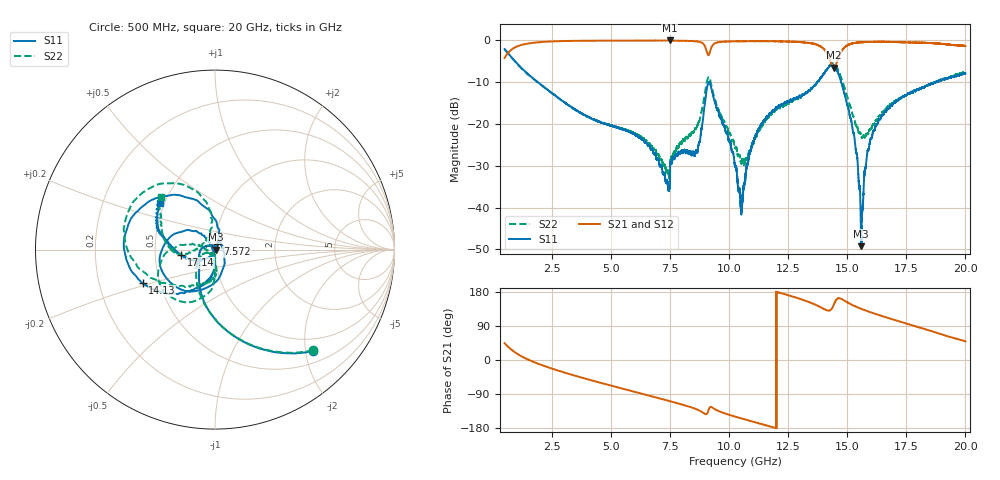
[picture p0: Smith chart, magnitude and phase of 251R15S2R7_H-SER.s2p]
!{251R15S2R7}
!Johanson Technology Inc.
!www.johansontechnology.com
!Test Board Conditions:
!Substrate Type  RO4350B
!Substrate Thickness  20 mil
!Substrate Dk  3.66
!TL Type: GCPW
!TL Trace Width  34 mil
!TL Gap  10 mil
!Electrode orientation  Horizontal
!DUT TOPOLOGY	SERIES
!Mounting Pad LxW  26x52 mil
! Created Thu Mar 12 16:39:19 2020
# mhz S ma R 50
! 2 Port Network Data from SP1.SP block
! freq  magS11  angS11  magS21  angS21  magS12  angS12  magS22  angS22
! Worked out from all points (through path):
!   19501 points, 500 MHz to 20 GHz, reference 50 ohm
!   highest |S21| = -0.02 dB at 7.487 GHz (marker M1); lowest = -6.5 dB at 14.43 GHz (marker M2)
!   group delay of S21, straight-line fit = 45.2 ps
!   lowest |S11| = -49.2 dB at 15.59 GHz (marker M3), VSWR 1.01, Z = 50.3 - j0.124 ohm
!   |S11| at or under -10 dB: 1.904 GHz to 9.138 GHz (7.234 GHz wide, 131 % of centre); 9.172 GHz to 13.73 GHz (4.558 GHz wide, 39.8 % of centre); 14.74 GHz to 18.76 GHz (4.019 GHz wide, 24 % of centre)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
!   |S22| runs from -33.2 to -2.1 dB; largest |S21 - S12| = 0.021
!   S11 on the Smith chart (normalised r, x): 500 MHz: 0.73, -2.15; 7.572 GHz: 1.02, +0.07; 14.13 GHz: 0.40, -0.19; 17.14 GHz: 0.68, -0.04; 20 GHz: 0.47, +0.29
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500  0.7863 -45.9  0.6146 44.4  0.6163 44.4  0.7837 -45.7
1611  0.3694 -92.2  0.9274 -2.0  0.9278 -2.0  0.3677 -92.4
3750  0.134 -130.6  0.987 -46.3  0.9886 -46.3  0.1329 -139.3
7000  0.03829 141.8  0.9957 -100.4  0.9962 -100.4  0.04338 -157.1
7487  0.01742 81.8  0.9973 -108.5  0.9962 -108.5  0.0229 -125.7
7572  0.03516 67.8  0.989 -109.9  0.9909 -109.9  0.04061 -80.3
8612  0.04786 2.9  0.9759 -129.8  0.9758 -129.8  0.08864 -95.9
9155  0.3192 -160.5  0.6787 -128.0  0.6806 -128.1  0.3649 -146.4
9367  0.195 146.7  0.9148 -128.6  0.9137 -128.8  0.2099 174.4
10250  0.03186 129.7  0.9755 -149.3  0.9761 -149.3  0.0521 174.7
10532  0.01015 -150.6  0.9784 -154.3  0.9752 -154.4  0.03599 -156.4
10926  0.04872 -91.1  0.9772 -161.4  0.9778 -161.4  0.05044 -103.1
11398  0.1021 -91.4  0.9791 -169.6  0.9781 -169.5  0.09419 -86.7
13500  0.2703 -120.7  0.9179 149.9  0.9259 149.9  0.2671 -129.3
14126  0.444 -155.2  0.711 131.4  0.7175 131.0  0.4466 -169.3
14427  0.5009 163.3  0.473 145.4  0.4751 145.0  0.5275 150.9
15224  0.08615 76.3  0.92 144.8  0.9142 145.1  0.13 98.5
15588  0.003459 -20.9  0.9514 135.2  0.9471 135.0  0.07236 131.4
16022  0.06739 -132.2  0.9591 125.3  0.958 125.2  0.08894 171.6
16750  0.1537 -159.5  0.9632 110.7  0.9553 110.2  0.1634 -170.5
17144  0.191 -171.2  0.9549 103.0  0.9517 102.8  0.1965 -171.4
20000  0.4038 139.7  0.857 49.4  0.8551 49.5  0.4165 135.7
